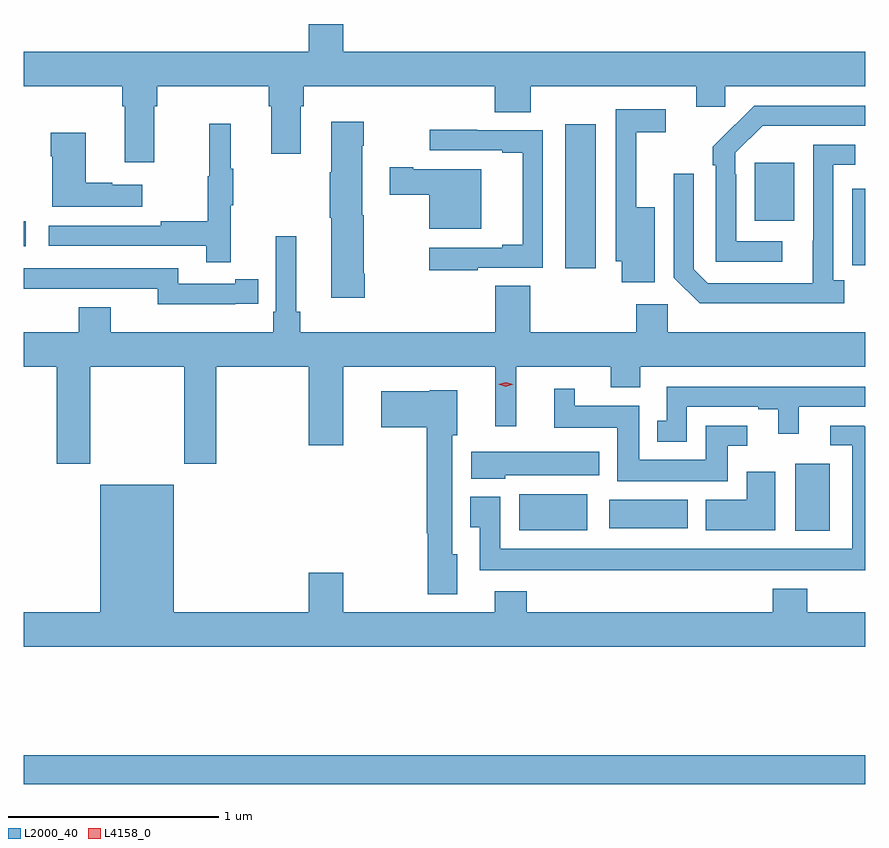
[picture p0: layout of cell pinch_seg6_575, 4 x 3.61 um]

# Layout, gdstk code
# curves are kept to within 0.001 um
import gdstk
lib = gdstk.Library(unit=1e-6, precision=1e-09)
def R(c, l, rs):  # rectangles x0, y0, x1, y1
    for r in rs: c.add(gdstk.rectangle(r[:2], r[2:], *l))
def P(c, l, *ps):  # polygons
    for p in ps: c.add(gdstk.Polygon(p, *l))
L2000_40 = (2000, 40)
L4158_0 = (4158, 0)

pinch_seg6_575 = lib.new_cell('pinch_seg6_575')
R(pinch_seg6_575, L2000_40, [(511.306,975.988,515.306,976.124), (514.973,977.192,515.137,977.509), (513.662,977.195,513.985,977.365), (514.089,977.204,514.462,977.338), (513.881,978.438,514.024,979.123), (511.306,978.543,511.315,978.663), (514.781,978.665,514.969,978.94)])
P(pinch_seg6_575, L2000_40, [(511.927,979.208),(511.94,979.208),(511.94,979.304),(512.471,979.304),(512.471,979.208),(512.483,979.208),(512.483,978.984),(512.623,978.984),(512.623,979.208),(512.636,979.208),(512.636,979.304),(513.545,979.304),(513.545,979.18),(513.717,979.18),(513.717,979.304),(514.502,979.304),(514.502,979.206),(514.641,979.206),(514.641,979.304),(515.306,979.304),(515.306,979.468),(512.824,979.468),(512.824,979.6),(512.66,979.6),(512.66,979.468),(511.306,979.468),(511.306,979.304),(511.775,979.304),(511.775,979.208),(511.787,979.208),(511.787,978.942),(511.927,978.942)],
  [(514.912,978.567),(514.692,978.567),(514.692,978.887),(514.689,978.887),(514.689,978.987),(514.818,979.116),(515.306,979.116),(515.306,979.212),(514.778,979.212),(514.581,979.017),(514.581,978.929),(514.596,978.929),(514.596,978.471),(514.912,978.471)],
  [(514.306,978.73),(514.217,978.73),(514.217,979.086),(514.357,979.086),(514.357,979.194),(514.119,979.194),(514.119,978.473),(514.148,978.473),(514.148,978.372),(514.306,978.372)],
  [(512.927,978.412),(512.922,978.412),(512.922,978.692),(512.914,978.692),(512.914,979.022),(512.922,979.022),(512.922,979.135),(512.768,979.135),(512.768,978.896),(512.761,978.896),(512.761,978.679),(512.768,978.679),(512.768,978.3),(512.927,978.3)],
  [(512.291,978.739),(512.302,978.739),(512.302,978.913),(512.291,978.913),(512.291,979.126),(512.188,979.126),(512.188,978.876),(512.181,978.876),(512.181,978.662),(511.957,978.662),(511.957,978.642),(511.425,978.642),(511.425,978.546),(512.173,978.546),(512.173,978.468),(512.291,978.468)],
  [(513.464,978.441),(513.774,978.441),(513.774,979.095),(513.461,979.095),(513.461,979.097),(513.237,979.097),(513.237,978.999),(513.581,978.999),(513.581,978.987),(513.677,978.987),(513.677,978.55),(513.581,978.55),(513.581,978.537),(513.234,978.537),(513.234,978.429),(513.464,978.429)],
  [(511.87,978.835),(511.727,978.835),(511.727,978.845),(511.6,978.845),(511.6,979.084),(511.435,979.084),(511.435,978.971),(511.442,978.971),(511.442,978.731),(511.87,978.731)],
  [(515.206,978.382),(515.154,978.382),(515.154,978.93),(515.257,978.93),(515.257,979.026),(515.058,979.026),(515.057,978.369),(514.557,978.369),(514.491,978.435),(514.491,978.889),(514.395,978.889),(514.395,978.395),(514.518,978.272),(515.206,978.272)],
  [(513.481,978.91),(513.157,978.91),(513.157,978.918),(513.045,978.918),(513.045,978.788),(513.233,978.788),(513.233,978.626),(513.481,978.626)],
  [(515.306,978.817),(515.244,978.817),(515.244,978.562),(515.245,978.562),(515.245,978.453),(515.306,978.453)],
  [(511.623,977.972),(512.068,977.972),(512.068,977.511),(512.222,977.511),(512.222,977.972),(512.66,977.972),(512.66,977.598),(512.824,977.598),(512.824,977.972),(513.548,977.972),(513.548,977.688),(513.647,977.688),(513.647,977.972),(514.097,977.972),(514.097,977.873),(514.237,977.873),(514.237,977.972),(515.306,977.972),(515.306,978.136),(514.368,978.136),(514.368,978.268),(514.217,978.268),(514.217,978.136),(513.714,978.136),(513.714,978.356),(513.548,978.356),(513.548,978.136),(512.621,978.136),(512.621,978.232),(512.602,978.232),(512.602,978.592),(512.505,978.592),(512.505,978.232),(512.492,978.232),(512.492,978.136),(511.72,978.136),(511.72,978.253),(511.568,978.253),(511.568,978.136),(511.306,978.136),(511.306,977.972),(511.463,977.972),(511.463,977.511),(511.623,977.511)],
  [(512.312,978.27),(512.42,978.27),(512.42,978.386),(512.312,978.386),(512.312,978.366),(512.04,978.366),(512.04,978.438),(511.306,978.438),(511.306,978.341),(511.484,978.341),(511.484,978.342),(511.944,978.342),(511.944,978.269),(512.312,978.269)],
  [(514.458,977.781),(514.796,977.781),(514.796,977.769),(514.892,977.769),(514.892,977.652),(514.99,977.652),(514.99,977.781),(515.306,977.781),(515.306,977.877),(514.362,977.877),(514.362,977.715),(514.316,977.715),(514.316,977.615),(514.458,977.615)],
  [(514.651,977.595),(514.744,977.595),(514.744,977.691),(514.547,977.691),(514.547,977.53),(514.231,977.53),(514.231,977.785),(513.925,977.785),(513.925,977.866),(513.827,977.866),(513.827,977.681),(514.127,977.681),(514.127,977.426),(514.651,977.426)],
  [(513.367,977.079),(513.343,977.079),(513.343,977.646),(513.367,977.646),(513.367,977.86),(513.237,977.86),(513.237,977.854),(513.006,977.854),(513.006,977.684),(513.221,977.684),(513.221,977.179),(513.226,977.179),(513.226,976.889),(513.367,976.889)],
  [(515.306,977.685),(515.3,977.691),(515.139,977.691),(515.139,977.598),(515.243,977.598),(515.243,977.107),(513.57,977.107),(513.57,977.353),(513.428,977.353),(513.428,977.209),(513.473,977.209),(513.473,977.003),(515.306,977.003)],
  [(513.594,977.456),(514.042,977.456),(514.042,977.566),(513.432,977.566),(513.432,977.438),(513.594,977.438)],
  [(514.879,977.473),(514.742,977.473),(514.742,977.338),(514.547,977.338),(514.547,977.195),(514.879,977.195)],
  [(515.306,976.804),(515.03,976.804),(515.03,976.915),(514.865,976.915),(514.865,976.804),(513.698,976.804),(513.698,976.903),(513.545,976.903),(513.545,976.804),(512.824,976.804),(512.824,976.993),(512.66,976.993),(512.66,976.804),(512.02,976.804),(512.02,977.41),(511.67,977.41),(511.67,976.804),(511.306,976.804),(511.306,976.64),(515.306,976.64)])
P(pinch_seg6_575, L4158_0, [(513.597,977.877),(513.561,977.887),(513.561,977.887),(513.561,977.887),(513.597,977.897),(513.632,977.887),(513.632,977.887),(513.632,977.887)])

lib.write_gds('pinch_seg6_575.gds')
